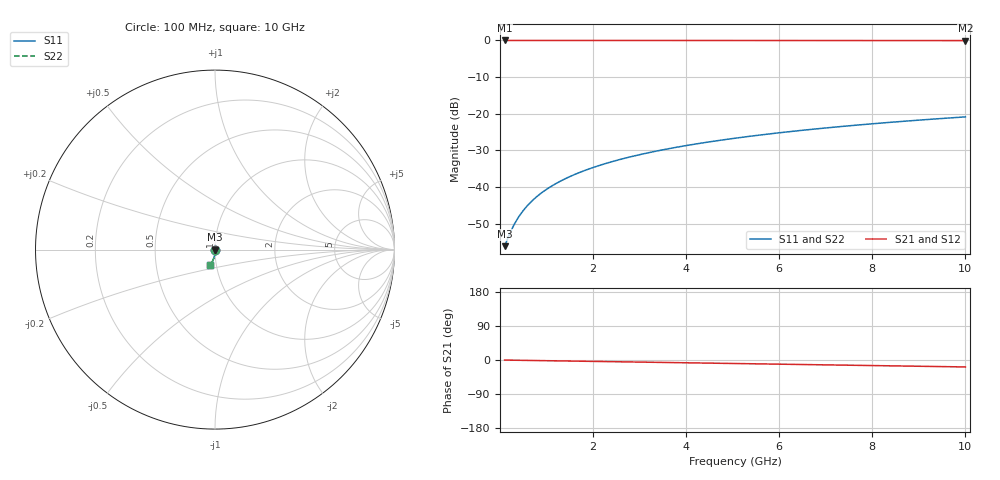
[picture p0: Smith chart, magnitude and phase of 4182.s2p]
# Hz S RI R 50.00
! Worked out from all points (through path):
!   100 points, 100 MHz to 10 GHz, reference 50 ohm
!   highest |S21| = -0.01 dB at 100 MHz (marker M1); lowest = -0.1 dB at 10 GHz (marker M2)
!   group delay of S21, straight-line fit = 5.09 ps
!   lowest |S11| = -56.2 dB at 100 MHz (marker M3), VSWR 1.00, Z = 50.1 - j0.0924 ohm
!   |S11| at or under -10 dB: start of sweep to end of sweep
!   |S22| runs from -56.2 to -20.9 dB; largest |S21 - S12| = 0
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1e8  0.00125 -0.000922  0.9987 -0.0032  0.9987 -0.0032  0.00125 -0.000922
2e8  0.00125 -0.00184  0.9987 -0.00639  0.9987 -0.00639  0.00125 -0.00184
3e8  0.00124 -0.00277  0.9987 -0.00959  0.9987 -0.00959  0.00124 -0.00277
4e8  0.00122 -0.00369  0.9986 -0.0128  0.9986 -0.0128  0.00122 -0.00369
5e8  0.0012 -0.00461  0.9986 -0.016  0.9986 -0.016  0.0012 -0.00461
6e8  0.00117 -0.00553  0.9985 -0.0192  0.9985 -0.0192  0.00117 -0.00553
7e8  0.00113 -0.00645  0.9984 -0.0224  0.9984 -0.0224  0.00113 -0.00645
9e8  0.00104 -0.0083  0.9982 -0.0288  0.9982 -0.0288  0.00104 -0.0083
1e9  0.000982 -0.00922  0.9981 -0.032  0.9981 -0.032  0.000982 -0.00922
1.2e9  0.000854 -0.0111  0.9979 -0.0383  0.9979 -0.0383  0.000854 -0.0111
1.5e9  0.000617 -0.0138  0.9974 -0.0479  0.9974 -0.0479  0.000617 -0.0138
1.8e9  0.000326 -0.0166  0.9969 -0.0575  0.9969 -0.0575  0.000326 -0.0166
2.1e9  -1.74e-05 -0.0193  0.9962 -0.0671  0.9962 -0.0671  -1.74e-05 -0.0193
2.5e9  -0.000558 -0.023  0.9952 -0.0798  0.9952 -0.0798  -0.000558 -0.023
2.9e9  -0.00119 -0.0266  0.994 -0.0925  0.994 -0.0925  -0.00119 -0.0266
3.4e9  -0.00212 -0.0311  0.9922 -0.1084  0.9922 -0.1084  -0.00212 -0.0311
4.2e9  -0.00389 -0.0383  0.9888 -0.1338  0.9888 -0.1338  -0.00389 -0.0383
5.1e9  -0.00633 -0.0462  0.9842 -0.1621  0.9842 -0.1621  -0.00633 -0.0462
5.9e9  -0.00888 -0.0532  0.9793 -0.1872  0.9793 -0.1872  -0.00888 -0.0532
6.7e9  -0.0118 -0.06  0.9737 -0.2121  0.9737 -0.2121  -0.0118 -0.06
8.4e9  -0.0191 -0.0739  0.9597 -0.2645  0.9597 -0.2645  -0.0191 -0.0739
1e10  -0.0272 -0.0862  0.9437 -0.3128  0.9437 -0.3128  -0.0272 -0.0862
